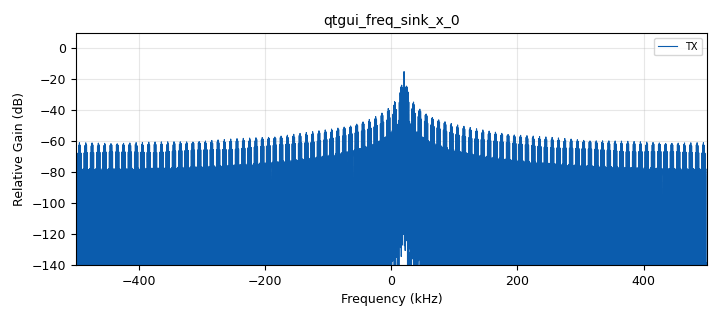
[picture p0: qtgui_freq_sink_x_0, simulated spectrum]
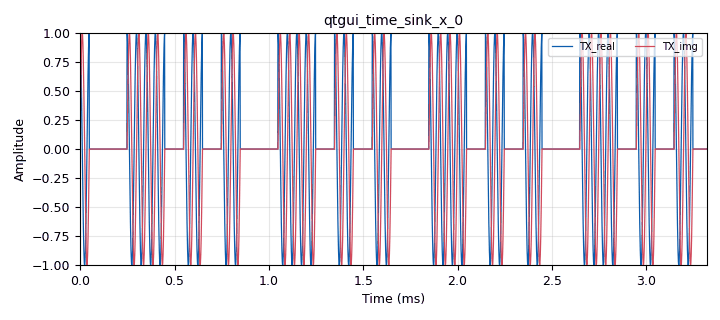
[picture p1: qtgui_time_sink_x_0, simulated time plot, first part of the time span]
options:
  parameters:
    author: bornhausen
    generate_options: qt_gui
    id: OOK_Pluto_RTL
    output_language: python
    title: OOK_Pluto-RTL
  states: {}

blocks:
- name: center_freq
  id: variable
  parameters:
    value: ' 915e6'
  states: {}
- name: rf_gain
  id: variable_qtgui_range
  parameters:
    start: '0'
    step: '1'
    stop: '70'
    value: '10'
  states: {}
- name: samp_rate
  id: variable
  parameters:
    value: 1e6
  states: {}
- name: signal_freq
  id: variable_qtgui_range
  parameters:
    start: '-100e3'
    step: '1'
    stop: 100e3
    value: 20e3
  states: {}
- name: sps
  id: variable
  parameters:
    value: '100'
  states: {}
- name: tx_attenuation
  id: variable_qtgui_range
  parameters:
    start: '0'
    step: '1'
    stop: '100'
    value: '10'
  states: {}
- name: analog_sig_source_x_0
  id: analog_sig_source_x
  parameters:
    amp: '1'
    freq: signal_freq
    offset: '0'
    phase: '0'
    samp_rate: samp_rate
    type: complex
    waveform: analog.GR_COS_WAVE
  states: {}
- name: blocks_complex_to_mag_0
  id: blocks_complex_to_mag
  parameters: {}
  states: {}
- name: blocks_keep_one_in_n_0
  id: blocks_keep_one_in_n
  parameters:
    n: sps
    type: float
  states: {}
- name: blocks_multiply_xx_0
  id: blocks_multiply_xx
  parameters:
    type: complex
  states: {}
- name: blocks_repeat_0
  id: blocks_repeat
  parameters:
    interp: sps
    type: complex
  states: {}
- name: blocks_threshold_ff_0
  id: blocks_threshold_ff
  parameters:
    high: '0.15'
    init: '0'
    low: '0.15'
  states: {}
- name: blocks_vector_source_x_0
  id: blocks_vector_source_x
  parameters:
    repeat: 'True'
    type: complex
    vector: (0, 1, 0, 1, 0, 0, 1, 1)
  states: {}
- name: iio_pluto_sink_0
  id: iio_pluto_sink
  parameters:
    attenuation1: tx_attenuation
    bandwidth: '20000000'
    buffer_size: '32768'
    cyclic: 'False'
    filter_source: '''Auto'''
    frequency: int(center_freq)
    samplerate: int(samp_rate)
    type: fc32
    uri: ip:pluto.local
  states: {}
- name: qtgui_const_sink_x_0
  id: qtgui_const_sink_x
  parameters:
    size: '1024'
    type: complex
  states: {}
- name: qtgui_freq_sink_x_0
  id: qtgui_freq_sink_x
  parameters:
    bw: samp_rate
    fc: '0'
    fftsize: 1024*8
    label1: TX
    type: complex
  states: {}
- name: qtgui_freq_sink_x_0_0
  id: qtgui_freq_sink_x
  parameters:
    bw: samp_rate
    fc: '0'
    fftsize: 1024*8
    label1: RX
    type: complex
  states: {}
- name: qtgui_time_sink_x_0
  id: qtgui_time_sink_x
  parameters:
    label1: TX_real
    label2: TX_img
    size: 1024*8
    srate: samp_rate
    type: complex
  states: {}
- name: qtgui_time_sink_x_0_0
  id: qtgui_time_sink_x
  parameters:
    label1: RX_real
    label2: RX_img
    size: 1024*8
    srate: samp_rate
    type: complex
  states: {}
- name: qtgui_time_sink_x_1
  id: qtgui_time_sink_x
  parameters:
    label1: RX_mag
    size: 1024*8
    srate: samp_rate
    type: float
  states: {}
- name: qtgui_time_sink_x_2
  id: qtgui_time_sink_x
  parameters:
    label1: TX_threshold
    size: '1024'
    srate: samp_rate
    type: float
  states: {}
- name: rtlsdr_source_0
  id: rtlsdr_source
  parameters:
    bb_gain0: '20'
    freq0: center_freq
    gain0: rf_gain
    gain_mode0: 'False'
    if_gain0: '20'
    sample_rate: samp_rate
    sync: sync
    type: fc32
  states: {}

connections:
- [analog_sig_source_x_0, '0', blocks_multiply_xx_0, '1']
- [blocks_complex_to_mag_0, '0', blocks_threshold_ff_0, '0']
- [blocks_complex_to_mag_0, '0', qtgui_time_sink_x_1, '0']
- [blocks_keep_one_in_n_0, '0', qtgui_time_sink_x_2, '0']
- [blocks_multiply_xx_0, '0', iio_pluto_sink_0, '0']
- [blocks_multiply_xx_0, '0', qtgui_freq_sink_x_0, '0']
- [blocks_multiply_xx_0, '0', qtgui_time_sink_x_0, '0']
- [blocks_repeat_0, '0', blocks_multiply_xx_0, '0']
- [blocks_threshold_ff_0, '0', blocks_keep_one_in_n_0, '0']
- [blocks_vector_source_x_0, '0', blocks_repeat_0, '0']
- [rtlsdr_source_0, '0', blocks_complex_to_mag_0, '0']
- [rtlsdr_source_0, '0', qtgui_const_sink_x_0, '0']
- [rtlsdr_source_0, '0', qtgui_freq_sink_x_0_0, '0']
- [rtlsdr_source_0, '0', qtgui_time_sink_x_0_0, '0']

metadata:
  file_format: 1
  grc_version: 3.10.10.0
